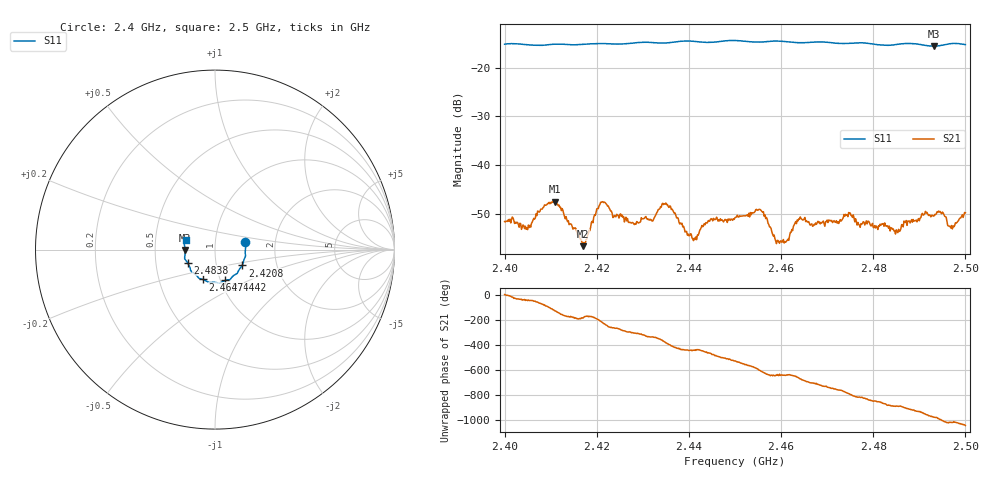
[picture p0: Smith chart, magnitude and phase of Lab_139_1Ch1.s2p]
# Hz S RI R 50
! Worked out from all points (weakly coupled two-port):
!   601 points, 2.4 GHz to 2.5 GHz, reference 50 ohm
!   highest |S21| = -47.47 dB at 2.4108 GHz (marker M1); lowest = -56.6 dB at 2.417 GHz (marker M2)
!   lowest |S11| = -15.6 dB at 2.4932 GHz (marker M3), VSWR 1.40, Z = 35.8 - j0.121 ohm
!   |S11| at or under -10 dB: start of sweep to end of sweep
!   S12 and S22 are empty: the file has one direction only
!   S11 on the Smith chart (normalised r, x): 2.4 GHz: 1.40, +0.12; 2.4208 GHz: 1.33, -0.24; 2.4442 GHz: 1.05, -0.37; 2.4647 GHz: 0.83, -0.29; 2.4838 GHz: 0.73, -0.11; 2.5 GHz: 0.71, +0.07
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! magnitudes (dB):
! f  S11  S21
! 2.4 GHz  -15.2  -51.6
! 2.4052 GHz  -15.4  -52.3
! 2.4108 GHz  -15.2  -47.5
! 2.4167 GHz  -15.3  -55.4
! 2.417 GHz  -15.3  -56.6
! 2.4208 GHz  -15.1  -47.6
! 2.428 GHz  -15.0  -52.0
! 2.4333 GHz  -15.0  -49.1
! 2.4355 GHz  -14.9  -48.4
! 2.4412 GHz  -14.6  -55.0
! 2.4442 GHz  -14.9  -51.4
! 2.45 GHz  -14.5  -50.8
! 2.4557 GHz  -14.8  -49.3
! 2.4593 GHz  -14.6  -55.4
! 2.4647 GHz  -14.9  -51.2
! 2.4667 GHz  -14.8  -52.0
! 2.4745 GHz  -15.1  -50.5
! 2.4833 GHz  -15.5  -52.9
! 2.4838 GHz  -15.4  -52.8
! 2.4932 GHz  -15.6  -50.4
! 2.497 GHz  -15.1  -52.4
! 2.5 GHz  -15.3  -49.8
